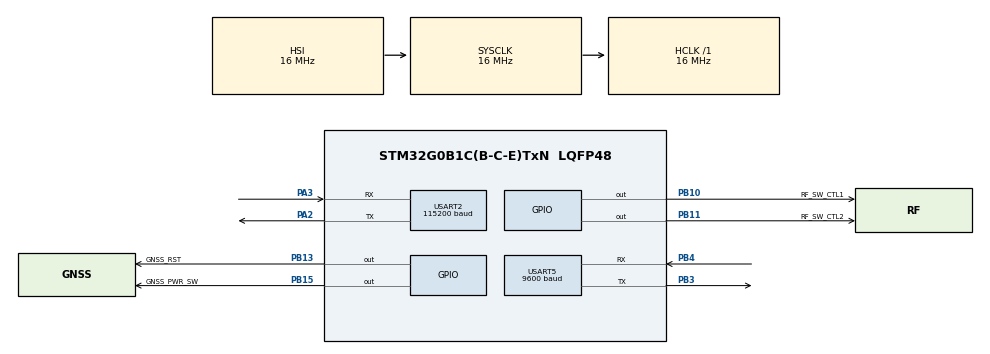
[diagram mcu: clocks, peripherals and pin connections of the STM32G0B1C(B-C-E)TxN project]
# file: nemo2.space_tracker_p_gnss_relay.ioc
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Mcu.Family=STM32G0
Mcu.Name=STM32G0B1C(B-C-E)TxN
Mcu.Package=LQFP48
NVIC.TIM6_DAC_LPTIM1_IRQn=true\:3\:0\:true\:false\:true\:true\:true\:true
PA13.Mode=Serial_Wire
PA13.Signal=SYS_SWDIO
PA14-BOOT0.Mode=Serial_Wire
PA14-BOOT0.Signal=SYS_SWCLK
PA2.Mode=Asynchronous
PA2.Signal=USART2_TX
PA3.Mode=Asynchronous
PA3.Signal=USART2_RX
PB10.GPIO_Label=RF_SW_CTL1
PB10.Signal=GPIO_Output
PB11.GPIO_Label=RF_SW_CTL2
PB11.Signal=GPIO_Output
PB13.GPIO_Label=GNSS_RST
PB13.GPIO_ModeDefaultOutputPP=GPIO_MODE_OUTPUT_OD
PB13.GPIO_PuPd=GPIO_NOPULL
PB13.Signal=GPIO_Output
PB15.GPIO_Label=GNSS_PWR_SW
PB15.Signal=GPIO_Output
PB3.Mode=Asynchronous
PB3.Signal=USART5_TX
PB4.Mode=Asynchronous
PB4.Signal=USART5_RX
ProjectManager.HeapSize=0x200
ProjectManager.StackSize=0x400
ProjectManager.TargetToolchain=STM32CubeIDE
RCC.AHBFreq_Value=16000000
RCC.CortexFreq_Value=16000000
RCC.EXTERNAL_CLOCK_VALUE=48000
RCC.HCLKFreq_Value=16000000
RCC.HSE_VALUE=8000000
RCC.HSI48_VALUE=48000000
RCC.HSI_VALUE=16000000
RCC.LSE_VALUE=32768
RCC.SYSCLKFreq_VALUE=16000000
RCC.USBFreq_Value=48000000
RCC.VCOOutputFreq_Value=128000000
TIM6.Period=1000-1
TIM6.Prescaler=16000-1
USART2.BaudRate=115200
USART2.VirtualMode-Asynchronous=VM_ASYNC
USART5.BaudRate=9600
USART5.VirtualMode-Asynchronous=VM_ASYNC
VP_SYS_VS_DBSignals.Mode=DisableDeadBatterySignals
VP_TIM6_VS_ClockSourceINT.Mode=Enable_Timer
board=custom

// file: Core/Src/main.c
/* USER CODE BEGIN Header */
/**
  ******************************************************************************
  * @file           : main.c
  * @brief          : Main program body
  ******************************************************************************
  * @attention
  *
  * Copyright (c) 2024 STMicroelectronics.
  * All rights reserved.
  *
  * This software is licensed under terms that can be found in the LICENSE file
  * in the root directory of this software component.
  * If no LICENSE file comes with this software, it is provided AS-IS.
  *
  ******************************************************************************
  */
/* USER CODE END Header */
#include "main.h"

TIM_HandleTypeDef htim6;

UART_HandleTypeDef huart2;
UART_HandleTypeDef huart5;

/* USER CODE BEGIN PV */
const uint8_t* hello =  "\nHello nemo2.space tracker p gnss relay\n\n\0" ;
const uint8_t* goodby =  "\nGoodby nemo2.space tracker p gnss relay\n\n\0" ;
const char* save_nvram = "$PAIR513*3D\r\n\0" ;
const char* set_nmea_br_9600 = "PAIR864,0,0,9600\0" ;
const char* get_nmea_br = "PAIR865,0,0\0" ;
const char* get_nav_mode = "PAIR081\0" ;
const char* get_sbas_status = "PAIR411\0" ; // PAIR_SBAS_GET_STATUS

const char* get_fix_outputrate = "PAIR051\0" ; // PAIR_COMMON_GET_FIX_RATE

const char* set_gnss_search_mode = "PAIR066,1,0,1,0,1,0\0" ; // PAIR_COMMON_SET_GNSS_SEARCH_MODE GPS_Enabled , GLONASS_Disabled , Galileo_Enabled , BDS_Disabled , QZSS_Enabled
const char* get_gnss_search_mode = "PAIR067\0" ; // PAIR_COMMON_SET_GNSS_SEARCH_MODE

const char* get_gga_outputrate = "PAIR063,0\0" ; // PAIR_COMMON_GET_NMEA_OUTPUT_RATE GGA
const char* get_gll_outputrate = "PAIR063,1\0" ; // PAIR_COMMON_GET_NMEA_OUTPUT_RATE GLL
const char* get_gsa_outputrate = "PAIR063,2\0" ; // PAIR_COMMON_GET_NMEA_OUTPUT_RATE GSA
const char* get_gsv_outputrate = "PAIR063,3\0" ; // PAIR_COMMON_GET_NMEA_OUTPUT_RATE GSV
const char* get_rmc_outputrate = "PAIR063,4\0" ; // PAIR_COMMON_GET_NMEA_OUTPUT_RATE RMC
const char* get_vtg_outputrate = "PAIR063,5\0" ; // PAIR_COMMON_GET_NMEA_OUTPUT_RATE VTG

const char* set_gga_0_outputrate = "PAIR062,0,0\0" ; // PAIR_COMMON_GET_NMEA_OUTPUT_RATE GGA
const char* set_gll_1_outputrate = "PAIR062,1,1\0" ; // PAIR_COMMON_GET_NMEA_OUTPUT_RATE GLL
const char* set_gsa_1_outputrate = "PAIR062,2,1\0" ; // PAIR_COMMON_GET_NMEA_OUTPUT_RATE GSA
const char* set_gsv_1_outputrate = "PAIR062,3,1\0" ; // PAIR_COMMON_GET_NMEA_OUTPUT_RATE GSV
const char* set_rmc_1_outputrate = "PAIR062,4,1\0" ; // PAIR_COMMON_GET_NMEA_OUTPUT_RATE RMC
const char* set_vtg_0_outputrate = "PAIR062,5,0\0" ; // PAIR_COMMON_GET_NMEA_OUTPUT_RATE VTG

const char* nmea_end = "\r\n" ;
char		my_gnss_command_response[2][250] = { {0} , {0} } ;
uint8_t res[250] = { 0 } ;
uint8_t gnss_rx_byte = 0 ;
uint8_t terminal_rx_byte = 0 ;
uint8_t len = 0 ;
//TIM
uint16_t tim_seconds_ths_sys_shutdown = 10 ;

/* USER CODE END PV */

void SystemClock_Config(void);
static void MX_GPIO_Init(void);
static void MX_USART2_UART_Init(void);
static void MX_USART5_UART_Init(void);
static void MX_TIM6_Init(void);
/* USER CODE BEGIN PFP */
void my_gnss_sw_on ( void ) ;
void my_gnss_sw_off ( void ) ;
unsigned char q1_check_xor ( const uint8_t* , uint8_t ) ;
void send_command ( const char* , bool ) ;
void send_command_save_nram ( void ) ;
void get_command_result ( void ) ;
void my_ant_sw_pos ( uint8_t ) ;
void my_tim_init ( void ) ;
void my_tim_start ( void ) ;
void my_tim_stop ( void ) ;
/* USER CODE END PFP */

int main(void)
{

  /* MCU Configuration--------------------------------------------------------*/

  /* Reset of all peripherals, Initializes the Flash interface and the Systick. */
  HAL_Init();

  /* Configure the system clock */
  SystemClock_Config();

  /* Initialize all configured peripherals */
  MX_GPIO_Init();
  MX_USART2_UART_Init();
  MX_USART5_UART_Init();
  MX_TIM6_Init();
  /* USER CODE BEGIN 2 */
  HAL_Delay ( 5000 ) ;
  my_tim_init () ;
  HAL_UART_Transmit ( &huart2 , hello , strlen ( hello ) , UART2_TX_TIMEOUT ) ;

  //send_command ( get_nav_mode , false ) ; // $PAIR081,0*2F
  //HAL_Delay ( 1000 ) ;
  //send_command ( get_sbas_status , false ) ; // $PAIR411,1*23
  //HAL_Delay ( 1000 ) ;
  //send_command ( get_fix_outputrate , false ) ; // $PAIR051,1000*13
  //HAL_Delay ( 1000 ) ;

  //send_command ( set_nmea_br_9600 , false ) ;
  //HAL_Delay ( 1000 ) ;
  //send_command ( get_nmea_br , false ) ; // $PAIR865,9600*12
  //HAL_Delay ( 1000 ) ;
  //send_command ( set_gnss_search_mode , false ) ;
  //HAL_Delay ( 1000 ) ;
  send_command ( get_gnss_search_mode , false ) ; // $PAIR067,1,0,1,0,1,0*3A
  HAL_Delay ( 1000 ) ;
  //send_command ( set_gga_0_outputrate , false ) ;
  //HAL_Delay ( 1000 ) ;
  send_command ( get_gga_outputrate , false ) ;
  HAL_Delay ( 1000 ) ;
  //send_command ( set_vtg_0_outputrate , false ) ;
  //HAL_Delay ( 1000 ) ;
  send_command ( get_vtg_outputrate , false ) ;
  HAL_Delay ( 1000 ) ;
  //send_command_save_nram () ;
  HAL_UART_Transmit ( &huart2 , goodby , strlen ( goodby ) , UART2_TX_TIMEOUT ) ;
  HAL_PWREx_EnterSHUTDOWNMode () ;
  /* USER CODE END 2 */

  /* Infinite loop */
  /* USER CODE BEGIN WHILE */
  while (1)
  {
	  /*HAL_UART_Receive ( &huart5 , &gnss_rx_byte , 1 , UART5_RX_TIMEOUT ) ;
	  if ( gnss_rx_byte )
	  {
		  HAL_UART_Transmit ( &huart2 , &gnss_rx_byte , 1 , UART5_TX_TIMEOUT ) ;
		  gnss_rx_byte = 0 ;
	  }*/

    /* USER CODE END WHILE */

  }
}

void SystemClock_Config(void)
{
  RCC_OscInitTypeDef RCC_OscInitStruct = {0};
  RCC_ClkInitTypeDef RCC_ClkInitStruct = {0};

  /** Configure the main internal regulator output voltage
  */
  HAL_PWREx_ControlVoltageScaling(PWR_REGULATOR_VOLTAGE_SCALE1);

  /** Initializes the RCC Oscillators according to the specified parameters
  * in the RCC_OscInitTypeDef structure.
  */
  RCC_OscInitStruct.OscillatorType = RCC_OSCILLATORTYPE_HSI;
  RCC_OscInitStruct.HSIState = RCC_HSI_ON;
  RCC_OscInitStruct.HSIDiv = RCC_HSI_DIV1;
  RCC_OscInitStruct.HSICalibrationValue = RCC_HSICALIBRATION_DEFAULT;
  RCC_OscInitStruct.PLL.PLLState = RCC_PLL_NONE;
  if (HAL_RCC_OscConfig(&RCC_OscInitStruct) != HAL_OK)
  {
    Error_Handler();
  }

  /** Initializes the CPU, AHB and APB buses clocks
  */
  RCC_ClkInitStruct.ClockType = RCC_CLOCKTYPE_HCLK|RCC_CLOCKTYPE_SYSCLK
                              |RCC_CLOCKTYPE_PCLK1;
  RCC_ClkInitStruct.SYSCLKSource = RCC_SYSCLKSOURCE_HSI;
  RCC_ClkInitStruct.AHBCLKDivider = RCC_SYSCLK_DIV1;
  RCC_ClkInitStruct.APB1CLKDivider = RCC_HCLK_DIV1;

  if (HAL_RCC_ClockConfig(&RCC_ClkInitStruct, FLASH_LATENCY_0) != HAL_OK)
  {
    Error_Handler();
  }
}

static void MX_TIM6_Init(void)
{

  TIM_MasterConfigTypeDef sMasterConfig = {0};

  htim6.Instance = TIM6;
  htim6.Init.Prescaler = 16000-1;
  htim6.Init.CounterMode = TIM_COUNTERMODE_UP;
  htim6.Init.Period = 1000-1;
  htim6.Init.AutoReloadPreload = TIM_AUTORELOAD_PRELOAD_DISABLE;
  if (HAL_TIM_Base_Init(&htim6) != HAL_OK)
  {
    Error_Handler();
  }
  sMasterConfig.MasterOutputTrigger = TIM_TRGO_RESET;
  sMasterConfig.MasterSlaveMode = TIM_MASTERSLAVEMODE_DISABLE;
  if (HAL_TIMEx_MasterConfigSynchronization(&htim6, &sMasterConfig) != HAL_OK)
  {
    Error_Handler();
  }

}

static void MX_USART2_UART_Init(void)
{

  huart2.Instance = USART2;
  huart2.Init.BaudRate = 115200;
  huart2.Init.WordLength = UART_WORDLENGTH_8B;
  huart2.Init.StopBits = UART_STOPBITS_1;
  huart2.Init.Parity = UART_PARITY_NONE;
  huart2.Init.Mode = UART_MODE_TX_RX;
  huart2.Init.HwFlowCtl = UART_HWCONTROL_NONE;
  huart2.Init.OverSampling = UART_OVERSAMPLING_16;
  huart2.Init.OneBitSampling = UART_ONE_BIT_SAMPLE_DISABLE;
  huart2.Init.ClockPrescaler = UART_PRESCALER_DIV1;
  huart2.AdvancedInit.AdvFeatureInit = UART_ADVFEATURE_NO_INIT;
  if (HAL_UART_Init(&huart2) != HAL_OK)
  {
    Error_Handler();
  }
  if (HAL_UARTEx_SetTxFifoThreshold(&huart2, UART_TXFIFO_THRESHOLD_1_8) != HAL_OK)
  {
    Error_Handler();
  }
  if (HAL_UARTEx_SetRxFifoThreshold(&huart2, UART_RXFIFO_THRESHOLD_1_8) != HAL_OK)
  {
    Error_Handler();
  }
  if (HAL_UARTEx_DisableFifoMode(&huart2) != HAL_OK)
  {
    Error_Handler();
  }

}

static void MX_USART5_UART_Init(void)
{

  huart5.Instance = USART5;
  huart5.Init.BaudRate = 9600;
  huart5.Init.WordLength = UART_WORDLENGTH_8B;
  huart5.Init.StopBits = UART_STOPBITS_1;
  huart5.Init.Parity = UART_PARITY_NONE;
  huart5.Init.Mode = UART_MODE_TX_RX;
  huart5.Init.HwFlowCtl = UART_HWCONTROL_NONE;
  huart5.Init.OverSampling = UART_OVERSAMPLING_16;
  huart5.Init.OneBitSampling = UART_ONE_BIT_SAMPLE_DISABLE;
  huart5.Init.ClockPrescaler = UART_PRESCALER_DIV1;
  huart5.AdvancedInit.AdvFeatureInit = UART_ADVFEATURE_NO_INIT;
  if (HAL_UART_Init(&huart5) != HAL_OK)
  {
    Error_Handler();
  }

}

static void MX_GPIO_Init(void)
{
  GPIO_InitTypeDef GPIO_InitStruct = {0};

  /* GPIO Ports Clock Enable */
  __HAL_RCC_GPIOA_CLK_ENABLE();
  __HAL_RCC_GPIOB_CLK_ENABLE();

  /*Configure GPIO pin Output Level */
  HAL_GPIO_WritePin(GPIOB, RF_SW_CTL1_Pin|RF_SW_CTL2_Pin|GNSS_RST_Pin|GNSS_PWR_SW_Pin, GPIO_PIN_RESET);

  /*Configure GPIO pins : RF_SW_CTL1_Pin RF_SW_CTL2_Pin GNSS_PWR_SW_Pin */
  GPIO_InitStruct.Pin = RF_SW_CTL1_Pin|RF_SW_CTL2_Pin|GNSS_PWR_SW_Pin;
  GPIO_InitStruct.Mode = GPIO_MODE_OUTPUT_PP;
  GPIO_InitStruct.Pull = GPIO_NOPULL;
  GPIO_InitStruct.Speed = GPIO_SPEED_FREQ_LOW;
  HAL_GPIO_Init(GPIOB, &GPIO_InitStruct);

  /*Configure GPIO pin : GNSS_RST_Pin */
  GPIO_InitStruct.Pin = GNSS_RST_Pin;
  GPIO_InitStruct.Mode = GPIO_MODE_OUTPUT_OD;
  GPIO_InitStruct.Pull = GPIO_NOPULL;
  GPIO_InitStruct.Speed = GPIO_SPEED_FREQ_LOW;
  HAL_GPIO_Init(GNSS_RST_GPIO_Port, &GPIO_InitStruct);

}

/* USER CODE BEGIN 4 */

// ** ANT SW Operations
void my_ant_sw_pos ( uint8_t pos )
{
	if ( pos == 1 ) // Włączenie GNSS czyli ustawienie RF_SW_CTL1 = LOW i RF_SW_CTL2 = HIGH
	{
		HAL_GPIO_WritePin ( RF_SW_CTL1_GPIO_Port , RF_SW_CTL1_Pin , GPIO_PIN_RESET ) ;
		HAL_GPIO_WritePin ( RF_SW_CTL2_GPIO_Port , RF_SW_CTL2_Pin , GPIO_PIN_SET ) ;
	}
	else if ( pos == 2 )
	{
		HAL_GPIO_WritePin ( RF_SW_CTL1_GPIO_Port , RF_SW_CTL1_Pin , GPIO_PIN_SET ) ;
		HAL_GPIO_WritePin ( RF_SW_CTL2_GPIO_Port , RF_SW_CTL2_Pin , GPIO_PIN_RESET ) ;
	}
}

// ** GNSS Operations
void my_gnss_sw_on ( void )
{
	my_ant_sw_pos ( 1 ) ;
	HAL_GPIO_WritePin ( GNSS_PWR_SW_GPIO_Port , GNSS_PWR_SW_Pin , GPIO_PIN_SET ) ;
	HAL_GPIO_WritePin ( GNSS_PWR_SW_GPIO_Port , GNSS_RST_Pin , GPIO_PIN_SET ) ;
	MX_USART5_UART_Init () ;
}
void my_gnss_sw_off ( void )
{
	my_ant_sw_pos ( 2 ) ;
	HAL_GPIO_WritePin ( GNSS_PWR_SW_GPIO_Port , GNSS_PWR_SW_Pin , GPIO_PIN_RESET ) ;
	HAL_GPIO_WritePin ( GNSS_PWR_SW_GPIO_Port , GNSS_RST_Pin , GPIO_PIN_RESET ) ;
	HAL_UART_DeInit ( &huart5 ) ;

}
unsigned char q1_check_xor ( const uint8_t *m , uint8_t l )
{
	unsigned char result = 0 ;
	unsigned int i = 0 ;

	if ( ( NULL == m ) || ( l < 1 ) )
	{
		return 0;
	}
	for ( i = 0 ; i < l ; i++ )
	{
		result ^= *( m + i ) ;
	}
	return result ;
}

void my_tim_init (void )
{
	__HAL_TIM_CLEAR_IT ( &htim6 , TIM_IT_UPDATE ) ;
}

void my_tim_start (void )
{
	tim_seconds = 0 ;
	HAL_TIM_Base_Start_IT ( &htim6 ) ;
}

void my_tim_stop (void )
{
	HAL_TIM_Base_Stop_IT ( &htim6 ) ;
}

void HAL_TIM_PeriodElapsedCallback ( TIM_HandleTypeDef *htim )
{
	if ( htim->Instance == TIM6 )
	{
		tim_seconds++ ;
		if ( tim_seconds > tim_seconds_ths_sys_shutdown )
		  {
			  //HAL_NVIC_SystemReset () ;
			  HAL_PWREx_EnterSHUTDOWNMode () ;
		  }
	}
}

void send_command ( const char* c1 , bool save_nram )
{
	size_t len_c1 = strlen ( c1 ) ;
	char cs = q1_check_xor ( c1 , len_c1 ) ;
	char* c2 = (char*) malloc ( ( len_c1 + 7 ) * sizeof ( char ) ) ; // Dodanie 7 wynika z konieczności uwzględnienia znaków: prexi $ i sufix *XX\n\r\0 , gdzie XX to checksum
	size_t len_c2 = strlen ( c2 ) ;
	sprintf ( c2 , "$%s*%X\r\n\0" , c1 , cs ) ;
	size_t len_2 = strlen ( c2 ) ;

	HAL_UART_Transmit ( &huart2 , c2 , len_c2 , UART2_TX_TIMEOUT ) ;
	my_gnss_sw_on() ;
	HAL_Delay ( 1000 ) ;
	HAL_UART_Transmit ( &huart5 , c2 , len_c2 , UART2_TX_TIMEOUT ) ;
	free ( c2 ) ;
	get_command_result () ;
	if ( save_nram )
		send_command_save_nram () ;
}

void send_command_save_nram ()
{
	size_t len_c2 = strlen ( save_nvram ) ;

	HAL_UART_Transmit ( &huart2 , save_nvram , len_c2 , UART2_TX_TIMEOUT ) ;
	my_gnss_sw_on() ;
	HAL_Delay ( 1000 ) ;
	HAL_UART_Transmit ( &huart5 , save_nvram , len_c2 , UART2_TX_TIMEOUT ) ;
	HAL_UART_Transmit ( &huart5 , &terminal_rx_byte , 1 , UART2_TX_TIMEOUT ) ;
	get_command_result () ;
}

void get_command_result ()
{
	my_gnss_command_response[0][0] = '\0' ;
	my_gnss_command_response[1][0] = '\0' ;
	if ( my_gnss_get_pair ( my_gnss_command_response ) )
	{
		for (uint8_t i = 0 ; i < 2 ; i++ )
		{
			if ( my_gnss_command_response[i][0] != '\0' ) ;
			{
				HAL_UART_Transmit ( &HUART_DBG , my_gnss_command_response[i] , strlen ( my_gnss_command_response[i] ) , UART2_TX_TIMEOUT ) ;
				HAL_UART_Transmit ( &HUART_DBG , "\r\n" , 2 , UART2_TX_TIMEOUT ) ;
			}
		}
	}
	HAL_UART_Transmit ( &HUART_DBG , "\r\n" , 2 , UART2_TX_TIMEOUT ) ;
}

void my_gnss_receive_byte ( uint8_t* rx_byte , bool verbose )
{
	HAL_UART_Receive ( &HUART_GNSS , rx_byte , 1 , UART_RX_TIMEOUT ) ;
	if ( verbose )
		HAL_UART_Transmit ( &HUART_DBG , rx_byte , 1 , UART_TX_TIMEOUT ) ;
}

/* USER CODE END 4 */

void Error_Handler(void)
{
  __disable_irq();
  while (1)
  {
  }
}
